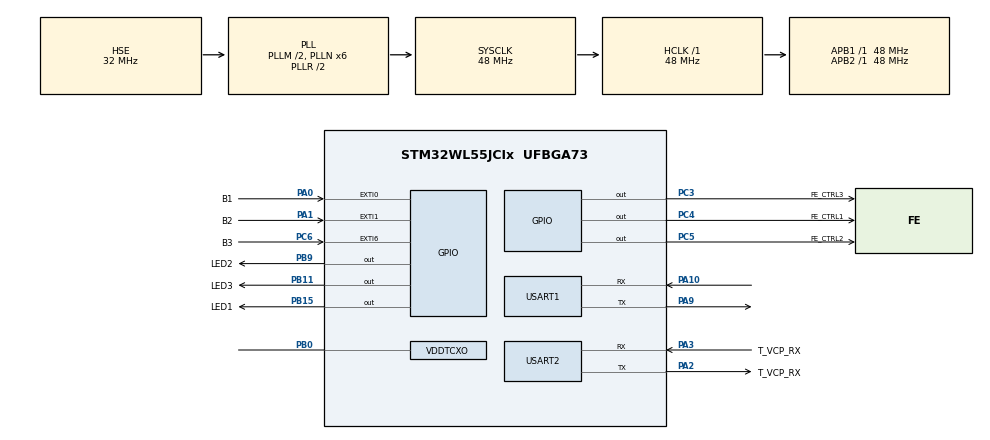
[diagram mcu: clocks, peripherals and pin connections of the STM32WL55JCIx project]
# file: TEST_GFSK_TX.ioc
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Mcu.Family=STM32WL
Mcu.Name=STM32WL55JCIx
Mcu.Package=UFBGA73
NVIC.PriorityGroup=NVIC_PRIORITYGROUP_4
NVIC.SUBGHZ_Radio_IRQn=true\:0\:0\:false\:false\:true\:true\:true\:true
NVIC.TIM1_UP_IRQn=true\:0\:0\:false\:false\:true\:true\:true\:true
NVIC.USART1_IRQn=true\:0\:0\:false\:false\:true\:true\:true\:true
NVIC.USART2_IRQn=true\:0\:0\:false\:false\:true\:true\:true\:true
OSC_IN.Mode=HSE-TCXO
OSC_IN.Signal=RCC_OSC_IN
PA0.GPIO_Label=B1
PA0.GPIO_ModeDefaultEXTI=GPIO_MODE_IT_FALLING
PA0.GPIO_PuPd=GPIO_PULLUP
PA0.Signal=GPXTI0
PA1.GPIO_Label=B2
PA1.GPIO_ModeDefaultEXTI=GPIO_MODE_IT_FALLING
PA1.GPIO_PuPd=GPIO_PULLUP
PA1.Signal=GPXTI1
PA10.Mode=Asynchronous
PA10.Signal=USART1_RX
PA13.Mode=Serial_Wire
PA13.Signal=DEBUG_JTMS-SWDIO
PA14.Mode=Serial_Wire
PA14.Signal=DEBUG_JTCK-SWCLK
PA2.GPIO_Label=T_VCP_RX
PA2.Mode=Asynchronous
PA2.Signal=USART2_TX
PA3.GPIO_Label=T_VCP_RX
PA3.Mode=Asynchronous
PA3.Signal=USART2_RX
PA9.Mode=Asynchronous
PA9.Signal=USART1_TX
PB0-VDD_TCXO.Mode=HSE-TCXO
PB0-VDD_TCXO.Signal=VDDTCXO
PB11.GPIO_Label=LED3
PB11.GPIO_Speed=GPIO_SPEED_FREQ_HIGH
PB11.Signal=GPIO_Output
PB15.GPIO_Label=LED1
PB15.GPIO_Speed=GPIO_SPEED_FREQ_HIGH
PB15.Signal=GPIO_Output
PB9.GPIO_FM9=__NULL
PB9.GPIO_Label=LED2
PB9.GPIO_Speed=GPIO_SPEED_FREQ_HIGH
PB9.Signal=GPIO_Output
PC14-OSC32_IN.Signal=RCC_OSC32_IN
PC15-OSC32_OUT.Signal=RCC_OSC32_OUT
PC3.GPIO_Label=FE_CTRL3
PC3.GPIO_Speed=GPIO_SPEED_FREQ_VERY_HIGH
PC3.Signal=GPIO_Output
PC4.GPIO_Label=FE_CTRL1
PC4.GPIO_Speed=GPIO_SPEED_FREQ_VERY_HIGH
PC4.Signal=GPIO_Output
PC5.GPIO_Label=FE_CTRL2
PC5.GPIO_Speed=GPIO_SPEED_FREQ_VERY_HIGH
PC5.Signal=GPIO_Output
PC6.GPIO_Label=B3
PC6.GPIO_ModeDefaultEXTI=GPIO_MODE_IT_FALLING
PC6.GPIO_PuPd=GPIO_PULLUP
PC6.Signal=GPXTI6
ProjectManager.HeapSize=0x200
ProjectManager.StackSize=0x400
ProjectManager.TargetToolchain=STM32CubeIDE
RCC.AHBFreq_Value=48000000
RCC.APB1Freq_Value=48000000
RCC.APB1TimFreq_Value=48000000
RCC.APB2Freq_Value=48000000
RCC.APB2TimFreq_Value=48000000
RCC.APB3Freq_Value=48000000
RCC.CortexFreq_Value=48000000
RCC.HCLKFreq_Value=48000000
RCC.HSE_VALUE=32000000
RCC.HSI_VALUE=16000000
RCC.LSE_VALUE=32768
RCC.MSIClockRange=RCC_MSIRANGE_11
RCC.PLLM=RCC_PLLM_DIV2
RCC.PLLN=6
RCC.PLLSourceVirtual=RCC_PLLSOURCE_HSE
RCC.SYSCLKFreq_VALUE=48000000
RCC.SYSCLKSource=RCC_SYSCLKSOURCE_PLLCLK
RCC.VCOOutputFreq_Value=96000000
TIM1.Period=1000-1
TIM1.Prescaler=48-1
TIM2.Period=1000001-1
TIM2.Prescaler=48-1
USART1.VirtualMode-Asynchronous=VM_ASYNC
USART2.VirtualMode-Asynchronous=VM_ASYNC
VP_ADV_TRACE_VS_ADV_TRACE.Mode=ADV_TRACE_Enabled
VP_MISC_VS_MISC.Mode=MISC_Enabled
VP_SEQUENCER_M4_VS_SEQUENCER.Mode=SEQUENCER_Enabled
VP_SUBGHZ_PHY_VS_SubGhzPhy.Mode=SubGhzPhy_Enabled
VP_SUBGHZ_VS_SUBGHZ.Mode=SUBGHZ_Activate
VP_TIM1_VS_ClockSourceINT.Mode=Internal
VP_TIM2_VS_ClockSourceINT.Mode=Internal
VP_TIMER_VS_TIMER.Mode=TIMER_Enabled
VP_TINY_LPM_VS_TINY_LPM.Mode=TINY_LPM_Enabled
board=NUCLEO-WL55JC2

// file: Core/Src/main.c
/* USER CODE BEGIN Header */
/**
 ******************************************************************************
 * @file           : main.c
 * @brief          : Main program body
 ******************************************************************************
 * @attention
 *
 * Copyright (c) 2024 STMicroelectronics.
 * All rights reserved.
 *
 * This software is licensed under terms that can be found in the LICENSE file
 * in the root directory of this software component.
 * If no LICENSE file comes with this software, it is provided AS-IS.
 *
 ******************************************************************************
 */
/* USER CODE END Header */
#include "main.h"
#include "app_subghz_phy.h"

/* USER CODE BEGIN Includes */

#include "com_debug.h"
#include "stdio.h"
#include "string.h"
#include "radio_driver.h"
/* USER CODE END Includes */

/* USER CODE BEGIN PTD */
#define PAYLOAD_LENGTH (6)

#define FREQ_401_MHZ            (401375000) //DLink  space to earth
#define FREQ_402_MHZ			(402375000)	//UPLINK earth to space

#define PA_DUTY_CYCLE           (0x02)
#define HP_MAX                  (0x02)
#define PA_SEL                  (0x00)

#define POWER                   (0x0E)
#define RAMP_TIME               (0x06)

#define DEMO_DEFAULT_CR            1
#define DEMO_DEFAULT_DE            0
#define DEMO_DEFAULT_BR            1200
#define DEMO_DEFAULT_BT            2
#define DEMO_DEFAULT_FDEV          12500
#define DEMO_DEFAULT_RISE          2
/* USER CODE END PTD */

/* USER CODE BEGIN PD */
PacketParams_t pkt_params;
ModulationParams_t mod_params;
/* USER CODE END PD */

SUBGHZ_HandleTypeDef hsubghz;

TIM_HandleTypeDef htim1;
TIM_HandleTypeDef htim2;

UART_HandleTypeDef huart1;
UART_HandleTypeDef huart2;

/* USER CODE BEGIN PV */
uint8_t rxCMD[6];
uint8_t rxOBCCMD[4];
uint8_t rxOBCCMDLP[4];

uint8_t p_len = PAYLOAD_LENGTH;

uint8_t tx_cmd[PAYLOAD_LENGTH];
uint8_t rx_cmd[PAYLOAD_LENGTH];

uint8_t ack;
uint8_t pkt_id = 0;
uint8_t counter = 0;

char temp_rx[100];
char temp_OBC_rx[100];
char temp_OBC_rx_LP[100];

uint8_t TX_FLAG = 0;

/* USER CODE END PV */

void SystemClock_Config(void);
static void MX_GPIO_Init(void);
static void MX_TIM1_Init(void);
static void MX_TIM2_Init(void);
static void MX_USART1_UART_Init(void);
static void MX_USART2_UART_Init(void);
/* USER CODE BEGIN PFP */

void DioIrqHndlr(RadioIrqMasks_t radioIrq);
/* USER CODE END PFP */

/* USER CODE BEGIN 0 */

void HAL_UART_RxCpltCallback(UART_HandleTypeDef *huart) {
	if (huart == &huart2) {
		TX_FLAG = 1;
	}
}

/* USER CODE END 0 */

int main(void) {

	/* MCU Configuration--------------------------------------------------------*/

	/* Reset of all peripherals, Initializes the Flash interface and the Systick. */
	HAL_Init();

	/* Configure the system clock */
	SystemClock_Config();

	/* Initialize all configured peripherals */
	MX_GPIO_Init();
	MX_SubGHz_Phy_Init();
	MX_TIM1_Init();
	MX_TIM2_Init();
	MX_USART1_UART_Init();
	MX_USART2_UART_Init();
	/* USER CODE BEGIN 2 */

	HAL_TIM_Base_Start(&htim2);

	pkt_params.PacketType = PACKET_TYPE_GFSK;
	pkt_params.Params.Gfsk.PayloadLength = 6;
	pkt_params.Params.Gfsk.PreambleLength = 8; /*Convert byte into bit*/
	pkt_params.Params.Gfsk.PreambleMinDetect = RADIO_PREAMBLE_DETECTOR_08_BITS;
	pkt_params.Params.Gfsk.SyncWordLength = 3 << 3; // convert byte into bit
	pkt_params.Params.Gfsk.AddrComp = RADIO_ADDRESSCOMP_FILT_OFF;
	pkt_params.Params.Gfsk.HeaderType = RADIO_PACKET_FIXED_LENGTH;
	pkt_params.Params.Gfsk.CrcLength = RADIO_CRC_2_BYTES_CCIT;
	pkt_params.Params.Gfsk.DcFree = RADIO_DC_FREEWHITENING;

	mod_params.PacketType = PACKET_TYPE_GFSK;
	mod_params.Params.Gfsk.Bandwidth = RX_BW_29300; /*Not used in TX*/
	mod_params.Params.Gfsk.BitRate = DEMO_DEFAULT_BR;
	mod_params.Params.Gfsk.Fdev = DEMO_DEFAULT_FDEV;
	mod_params.Params.Gfsk.ModulationShaping = MOD_SHAPING_G_BT_1;

	SUBGRF_Init(DioIrqHndlr);
	SUBGRF_SetBufferBaseAddress(0x00, 0x00);
	SUBGRF_SetPayload(rx_cmd, PAYLOAD_LENGTH);
	SUBGRF_SetPacketParams(&pkt_params);
	SUBGRF_SetSyncWord(( uint8_t[] ) { 0xC1, 0x94, 0xC1, 0x00, 0x00, 0x00, 0x00,
					0x00 });
	SUBGRF_SetWhiteningSeed(0x01FF);
	SUBGRF_SetRfFrequency(FREQ_402_MHZ);
	SUBGRF_SetPaConfig(PA_DUTY_CYCLE, HP_MAX, PA_SEL, 0x01);
	//SUBGRF_SetTxParams(RFO_HP, POWER, RAMP_TIME);
	SUBGRF_SetTxParams(RFO_LP, POWER, RAMP_TIME); // Set to RFO_LP for low power
	SUBGRF_SetModulationParams(&mod_params);
	SUBGRF_SetDioIrqParams(
			IRQ_TX_DONE | IRQ_PREAMBLE_DETECTED | IRQ_RX_DONE
					| IRQ_RX_TX_TIMEOUT | IRQ_SYNCWORD_VALID,
			IRQ_TX_DONE | IRQ_PREAMBLE_DETECTED | IRQ_RX_DONE
					| IRQ_RX_TX_TIMEOUT | IRQ_SYNCWORD_VALID, IRQ_RADIO_NONE,
			IRQ_RADIO_NONE);

	HAL_UART_Receive_IT(&huart2, rxCMD, 6);

	/* USER CODE END 2 */

	/* Infinite loop */
	/* USER CODE BEGIN WHILE */
	while (1) {

		HAL_GPIO_WritePin(GPIOB, LED1_Pin, GPIO_PIN_RESET);
		delay_us(1000000);
		HAL_GPIO_WritePin(GPIOB, LED1_Pin, GPIO_PIN_SET);
		delay_us(1000000);

		if (TX_FLAG) {
			SUBGRF_SetRfFrequency(FREQ_402_MHZ);
			//SUBGRF_SetSwitch(RFO_HP, RFSWITCH_TX); /*Set RF switch*/
			SUBGRF_SetSwitch(RFO_LP, RFSWITCH_TX); /*Set RF switch*/
			SUBGRF_SendPayload(rxCMD, 6, 0);
			counter++;
		}

		HAL_UART_Receive_IT(&huart2, rxCMD, 6);

		/* USER CODE END WHILE */
		MX_SubGHz_Phy_Process();

	}
}

void SystemClock_Config(void) {
	RCC_OscInitTypeDef RCC_OscInitStruct = { 0 };
	RCC_ClkInitTypeDef RCC_ClkInitStruct = { 0 };

	/** Configure the main internal regulator output voltage
	 */
	__HAL_PWR_VOLTAGESCALING_CONFIG(PWR_REGULATOR_VOLTAGE_SCALE1);

	/** Initializes the CPU, AHB and APB buses clocks
	 */
	RCC_OscInitStruct.OscillatorType = RCC_OSCILLATORTYPE_HSE;
	RCC_OscInitStruct.HSEState = RCC_HSE_BYPASS_PWR;
	RCC_OscInitStruct.HSEDiv = RCC_HSE_DIV1;
	RCC_OscInitStruct.PLL.PLLState = RCC_PLL_ON;
	RCC_OscInitStruct.PLL.PLLSource = RCC_PLLSOURCE_HSE;
	RCC_OscInitStruct.PLL.PLLM = RCC_PLLM_DIV2;
	RCC_OscInitStruct.PLL.PLLN = 6;
	RCC_OscInitStruct.PLL.PLLP = RCC_PLLP_DIV2;
	RCC_OscInitStruct.PLL.PLLR = RCC_PLLR_DIV2;
	RCC_OscInitStruct.PLL.PLLQ = RCC_PLLQ_DIV2;
	if (HAL_RCC_OscConfig(&RCC_OscInitStruct) != HAL_OK) {
		Error_Handler();
	}

	/** Configure the SYSCLKSource, HCLK, PCLK1 and PCLK2 clocks dividers
	 */
	RCC_ClkInitStruct.ClockType = RCC_CLOCKTYPE_HCLK3 | RCC_CLOCKTYPE_HCLK
			| RCC_CLOCKTYPE_SYSCLK | RCC_CLOCKTYPE_PCLK1 | RCC_CLOCKTYPE_PCLK2;
	RCC_ClkInitStruct.SYSCLKSource = RCC_SYSCLKSOURCE_PLLCLK;
	RCC_ClkInitStruct.AHBCLKDivider = RCC_SYSCLK_DIV1;
	RCC_ClkInitStruct.APB1CLKDivider = RCC_HCLK_DIV1;
	RCC_ClkInitStruct.APB2CLKDivider = RCC_HCLK_DIV1;
	RCC_ClkInitStruct.AHBCLK3Divider = RCC_SYSCLK_DIV1;

	if (HAL_RCC_ClockConfig(&RCC_ClkInitStruct, FLASH_LATENCY_2) != HAL_OK) {
		Error_Handler();
	}
}

void MX_SUBGHZ_Init(void) {

	hsubghz.Init.BaudratePrescaler = SUBGHZSPI_BAUDRATEPRESCALER_8;
	if (HAL_SUBGHZ_Init(&hsubghz) != HAL_OK) {
		Error_Handler();
	}

}

static void MX_TIM1_Init(void) {

	TIM_ClockConfigTypeDef sClockSourceConfig = { 0 };
	TIM_MasterConfigTypeDef sMasterConfig = { 0 };

	htim1.Instance = TIM1;
	htim1.Init.Prescaler = 48 - 1;
	htim1.Init.CounterMode = TIM_COUNTERMODE_UP;
	htim1.Init.Period = 1000 - 1;
	htim1.Init.ClockDivision = TIM_CLOCKDIVISION_DIV1;
	htim1.Init.RepetitionCounter = 0;
	htim1.Init.AutoReloadPreload = TIM_AUTORELOAD_PRELOAD_DISABLE;
	if (HAL_TIM_Base_Init(&htim1) != HAL_OK) {
		Error_Handler();
	}
	sClockSourceConfig.ClockSource = TIM_CLOCKSOURCE_INTERNAL;
	if (HAL_TIM_ConfigClockSource(&htim1, &sClockSourceConfig) != HAL_OK) {
		Error_Handler();
	}
	sMasterConfig.MasterOutputTrigger = TIM_TRGO_RESET;
	sMasterConfig.MasterOutputTrigger2 = TIM_TRGO2_RESET;
	sMasterConfig.MasterSlaveMode = TIM_MASTERSLAVEMODE_DISABLE;
	if (HAL_TIMEx_MasterConfigSynchronization(&htim1, &sMasterConfig)
			!= HAL_OK) {
		Error_Handler();
	}

}

static void MX_TIM2_Init(void) {

	TIM_ClockConfigTypeDef sClockSourceConfig = { 0 };
	TIM_MasterConfigTypeDef sMasterConfig = { 0 };

	htim2.Instance = TIM2;
	htim2.Init.Prescaler = 48 - 1;
	htim2.Init.CounterMode = TIM_COUNTERMODE_UP;
	htim2.Init.Period = 1000001 - 1;
	htim2.Init.ClockDivision = TIM_CLOCKDIVISION_DIV1;
	htim2.Init.AutoReloadPreload = TIM_AUTORELOAD_PRELOAD_DISABLE;
	if (HAL_TIM_Base_Init(&htim2) != HAL_OK) {
		Error_Handler();
	}
	sClockSourceConfig.ClockSource = TIM_CLOCKSOURCE_INTERNAL;
	if (HAL_TIM_ConfigClockSource(&htim2, &sClockSourceConfig) != HAL_OK) {
		Error_Handler();
	}
	sMasterConfig.MasterOutputTrigger = TIM_TRGO_RESET;
	sMasterConfig.MasterSlaveMode = TIM_MASTERSLAVEMODE_DISABLE;
	if (HAL_TIMEx_MasterConfigSynchronization(&htim2, &sMasterConfig)
			!= HAL_OK) {
		Error_Handler();
	}

}

static void MX_USART1_UART_Init(void) {

	huart1.Instance = USART1;
	huart1.Init.BaudRate = 115200;
	huart1.Init.WordLength = UART_WORDLENGTH_8B;
	huart1.Init.StopBits = UART_STOPBITS_1;
	huart1.Init.Parity = UART_PARITY_NONE;
	huart1.Init.Mode = UART_MODE_TX_RX;
	huart1.Init.HwFlowCtl = UART_HWCONTROL_NONE;
	huart1.Init.OverSampling = UART_OVERSAMPLING_16;
	huart1.Init.OneBitSampling = UART_ONE_BIT_SAMPLE_DISABLE;
	huart1.Init.ClockPrescaler = UART_PRESCALER_DIV1;
	huart1.AdvancedInit.AdvFeatureInit = UART_ADVFEATURE_NO_INIT;
	if (HAL_UART_Init(&huart1) != HAL_OK) {
		Error_Handler();
	}
	if (HAL_UARTEx_SetTxFifoThreshold(&huart1, UART_TXFIFO_THRESHOLD_1_8)
			!= HAL_OK) {
		Error_Handler();
	}
	if (HAL_UARTEx_SetRxFifoThreshold(&huart1, UART_RXFIFO_THRESHOLD_1_8)
			!= HAL_OK) {
		Error_Handler();
	}
	if (HAL_UARTEx_DisableFifoMode(&huart1) != HAL_OK) {
		Error_Handler();
	}

}

static void MX_USART2_UART_Init(void) {

	huart2.Instance = USART2;
	huart2.Init.BaudRate = 115200;
	huart2.Init.WordLength = UART_WORDLENGTH_8B;
	huart2.Init.StopBits = UART_STOPBITS_1;
	huart2.Init.Parity = UART_PARITY_NONE;
	huart2.Init.Mode = UART_MODE_TX_RX;
	huart2.Init.HwFlowCtl = UART_HWCONTROL_NONE;
	huart2.Init.OverSampling = UART_OVERSAMPLING_16;
	huart2.Init.OneBitSampling = UART_ONE_BIT_SAMPLE_DISABLE;
	huart2.Init.ClockPrescaler = UART_PRESCALER_DIV1;
	huart2.AdvancedInit.AdvFeatureInit = UART_ADVFEATURE_NO_INIT;
	if (HAL_UART_Init(&huart2) != HAL_OK) {
		Error_Handler();
	}
	if (HAL_UARTEx_SetTxFifoThreshold(&huart2, UART_TXFIFO_THRESHOLD_1_8)
			!= HAL_OK) {
		Error_Handler();
	}
	if (HAL_UARTEx_SetRxFifoThreshold(&huart2, UART_RXFIFO_THRESHOLD_1_8)
			!= HAL_OK) {
		Error_Handler();
	}
	if (HAL_UARTEx_DisableFifoMode(&huart2) != HAL_OK) {
		Error_Handler();
	}

}

static void MX_GPIO_Init(void) {
	GPIO_InitTypeDef GPIO_InitStruct = { 0 };

	/* GPIO Ports Clock Enable */
	__HAL_RCC_GPIOA_CLK_ENABLE();
	__HAL_RCC_GPIOB_CLK_ENABLE();
	__HAL_RCC_GPIOC_CLK_ENABLE();

	/*Configure GPIO pin Output Level */
	HAL_GPIO_WritePin(GPIOB, LED1_Pin | LED2_Pin | LED3_Pin, GPIO_PIN_RESET);

	/*Configure GPIO pin Output Level */
	HAL_GPIO_WritePin(GPIOC, FE_CTRL3_Pin | FE_CTRL2_Pin | FE_CTRL1_Pin,
			GPIO_PIN_RESET);

	/*Configure GPIO pins : LED1_Pin LED2_Pin LED3_Pin */
	GPIO_InitStruct.Pin = LED1_Pin | LED2_Pin | LED3_Pin;
	GPIO_InitStruct.Mode = GPIO_MODE_OUTPUT_PP;
	GPIO_InitStruct.Pull = GPIO_NOPULL;
	GPIO_InitStruct.Speed = GPIO_SPEED_FREQ_HIGH;
	HAL_GPIO_Init(GPIOB, &GPIO_InitStruct);

	/*Configure GPIO pins : FE_CTRL3_Pin FE_CTRL2_Pin FE_CTRL1_Pin */
	GPIO_InitStruct.Pin = FE_CTRL3_Pin | FE_CTRL2_Pin | FE_CTRL1_Pin;
	GPIO_InitStruct.Mode = GPIO_MODE_OUTPUT_PP;
	GPIO_InitStruct.Pull = GPIO_NOPULL;
	GPIO_InitStruct.Speed = GPIO_SPEED_FREQ_VERY_HIGH;
	HAL_GPIO_Init(GPIOC, &GPIO_InitStruct);

	/*Configure GPIO pins : B1_Pin B2_Pin */
	GPIO_InitStruct.Pin = B1_Pin | B2_Pin;
	GPIO_InitStruct.Mode = GPIO_MODE_IT_FALLING;
	GPIO_InitStruct.Pull = GPIO_PULLUP;
	HAL_GPIO_Init(GPIOA, &GPIO_InitStruct);

	/*Configure GPIO pin : B3_Pin */
	GPIO_InitStruct.Pin = B3_Pin;
	GPIO_InitStruct.Mode = GPIO_MODE_IT_FALLING;
	GPIO_InitStruct.Pull = GPIO_PULLUP;
	HAL_GPIO_Init(B3_GPIO_Port, &GPIO_InitStruct);

}

/* USER CODE BEGIN 4 */

void DioIrqHndlr(RadioIrqMasks_t radioIrq) {
	if (radioIrq == IRQ_TX_DONE) {
		TX_FLAG = 0;
		myPrintf("\n\r Test Command Transmitted Successful:  \r");
		for (int i = 0; i < sizeof(rxCMD); i++) {
			myPrintf(" %02x", rxCMD[i]);
		}
		myPrintf("\n\n");

		SUBGRF_SetRfFrequency(FREQ_401_MHZ);
		SUBGRF_SetSwitch(RFO_LP, RFSWITCH_RX); /*Set RF switch*/
		SUBGRF_SetRxBoosted(0xFFFFFF);

		HAL_GPIO_WritePin(GPIOB, LED1_Pin, GPIO_PIN_SET);
		delay_us(1000000);  // 500ms delay
		HAL_GPIO_WritePin(GPIOB, LED1_Pin, GPIO_PIN_RESET);
		delay_us(1000000);
	}
	if (radioIrq == IRQ_RX_DONE) {
		SUBGRF_GetPayload(rx_cmd, &p_len, PAYLOAD_LENGTH);
		myPrintf("\nGFSK Received\r\n");
		for (int i = 0; i < sizeof(rx_cmd); i++) {
			myPrintf(" %x", rx_cmd[i]);
		}
	}
}

/* USER CODE END 4 */

void Error_Handler(void) {
	__disable_irq();
	while (1) {
	}
}
